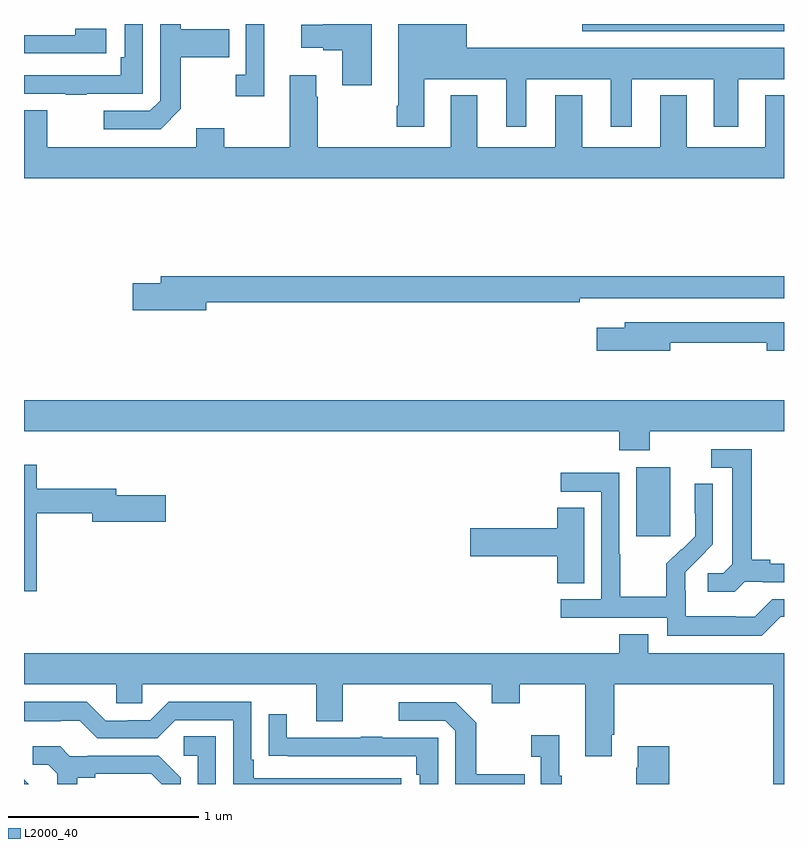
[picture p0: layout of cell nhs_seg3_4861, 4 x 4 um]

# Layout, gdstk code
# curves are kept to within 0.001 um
import gdstk
lib = gdstk.Library(unit=1e-6, precision=1e-09)
def R(c, l, rs):  # rectangles x0, y0, x1, y1
    for r in rs: c.add(gdstk.rectangle(r[:2], r[2:], *l))
def P(c, l, *ps):  # polygons
    for p in ps: c.add(gdstk.Polygon(p, *l))
L2000_40 = (2000, 40)

nhs_seg3_4861 = lib.new_cell('nhs_seg3_4861')
R(nhs_seg3_4861, L2000_40, [(376.223,693.705,376.402,694.066), (375.939,696.362,377,696.4)])
P(nhs_seg3_4861, L2000_40, [(373.825,695.953),(373.825,696.226),(374.081,696.226),(374.081,696.373),(373.825,696.373),(373.825,696.4),(373.716,696.4),(373.716,695.997),(373.662,695.943),(373.419,695.943),(373.419,695.847),(373.719,695.847)],
  [(374.83,696.4),(374.576,696.4),(374.576,696.397),(374.46,696.397),(374.46,696.275),(374.576,696.275),(374.576,696.263),(374.675,696.263),(374.675,696.078),(374.83,696.078)],
  [(375.106,696.11),(375.539,696.11),(375.539,695.859),(375.643,695.859),(375.643,696.11),(376.088,696.11),(376.088,695.859),(376.198,695.859),(376.198,696.11),(376.631,696.11),(376.631,695.859),(376.759,695.859),(376.759,696.11),(377,696.11),(377,696.274),(375.331,696.274),(375.331,696.4),(374.969,696.4),(374.969,695.971),(374.962,695.971),(374.962,695.859),(375.106,695.859)],
  [(373.331,696.033),(373.626,696.033),(373.626,696.4),(373.53,696.4),(373.53,696.226),(373.51,696.226),(373.51,696.129),(373,696.129),(373,696.033),(373.219,696.033),(373.219,696.028),(373.331,696.028)],
  [(374.264,696.4),(374.166,696.4),(374.166,696.134),(374.115,696.134),(374.115,696.021),(374.264,696.021)],
  [(373.432,696.376),(373.271,696.376),(373.271,696.342),(373,696.342),(373,696.246),(373.432,696.246)],
  [(377,696.025),(376.901,696.025),(376.901,695.752),(376.489,695.752),(376.489,696.025),(376.349,696.025),(376.349,695.752),(375.937,695.752),(375.937,696.025),(375.797,696.025),(375.797,695.752),(375.385,695.752),(375.385,696.025),(375.245,696.025),(375.245,695.752),(374.547,695.752),(374.547,696.017),(374.539,696.017),(374.539,696.13),(374.399,696.13),(374.399,695.752),(374.055,695.752),(374.055,695.851),(373.907,695.851),(373.907,695.752),(373.123,695.752),(373.123,695.947),(373,695.947),(373,695.588),(377,695.588)],
  [(373.96,694.936),(375.926,694.936),(375.926,694.956),(377,694.956),(377,695.072),(373.721,695.072),(373.721,695.036),(373.572,695.036),(373.572,694.894),(373.96,694.894)],
  [(376.402,694.722),(376.91,694.722),(376.91,694.679),(377,694.679),(377,694.83),(376.163,694.83),(376.163,694.801),(376.014,694.801),(376.014,694.679),(376.402,694.679)],
  [(376.293,694.256),(377,694.256),(377,694.42),(373,694.42),(373,694.256),(376.133,694.256),(376.133,694.157),(376.293,694.157)],
  [(376.794,693.465),(376.888,693.465),(376.888,693.462),(377,693.462),(377,693.558),(376.927,693.558),(376.927,693.581),(376.831,693.581),(376.831,694.161),(376.617,694.161),(376.617,694.065),(376.727,694.065),(376.727,693.557),(376.68,693.51),(376.599,693.51),(376.599,693.413),(376.742,693.413)],
  [(373.067,693.826),(373.358,693.826),(373.358,693.779),(373.747,693.779),(373.747,693.921),(373.486,693.921),(373.486,693.955),(373.067,693.955),(373.067,694.081),(373,694.081),(373,693.414),(373.067,693.414)],
  [(376.983,693.279),(377,693.279),(377,693.372),(376.938,693.372),(376.845,693.279),(376.745,693.279),(376.745,693.283),(376.482,693.283),(376.482,693.417),(376.48,693.417),(376.48,693.514),(376.626,693.662),(376.626,693.98),(376.53,693.98),(376.53,693.826),(376.532,693.826),(376.532,693.704),(376.461,693.633),(376.458,693.636),(376.381,693.559),(376.381,693.385),(376.137,693.385),(376.137,693.608),(376.134,693.608),(376.134,694.038),(375.825,694.038),(375.825,693.939),(376.038,693.939),(376.038,693.372),(375.825,693.372),(375.825,693.276),(376.386,693.276),(376.386,693.179),(376.883,693.179)],
  [(375.949,693.854),(375.806,693.854),(375.806,693.746),(375.348,693.746),(375.348,693.599),(375.806,693.599),(375.806,693.457),(375.949,693.457)],
  [(377,693.088),(376.285,693.088),(376.285,693.187),(376.133,693.187),(376.133,693.088),(373,693.088),(373,692.924),(373.485,692.924),(373.485,692.826),(373.623,692.826),(373.623,692.924),(374.537,692.924),(374.537,692.73),(374.677,692.73),(374.677,692.924),(375.461,692.924),(375.461,692.825),(375.609,692.825),(375.609,692.924),(375.953,692.924),(375.953,692.547),(376.093,692.547),(376.093,692.659),(376.106,692.659),(376.106,692.924),(376.943,692.924),(376.943,692.4),(377,692.4)],
  [(374.986,692.43),(374.209,692.43),(374.209,692.527),(374.196,692.527),(374.196,692.832),(373.761,692.832),(373.665,692.736),(373.547,692.736),(373.547,692.733),(373.431,692.733),(373.331,692.833),(373,692.833),(373,692.729),(373.193,692.729),(373.193,692.733),(373.293,692.733),(373.386,692.64),(373.701,692.64),(373.797,692.736),(374.1,692.736),(374.1,692.4),(374.986,692.4)],
  [(375.635,692.451),(375.379,692.451),(375.379,692.723),(375.273,692.829),(374.973,692.829),(374.973,692.733),(375.216,692.733),(375.27,692.679),(375.27,692.4),(375.635,692.4)],
  [(375.18,692.643),(374.885,692.643),(374.885,692.648),(374.773,692.648),(374.773,692.643),(374.383,692.643),(374.383,692.767),(374.287,692.767),(374.287,692.548),(374.389,692.548),(374.389,692.547),(375.064,692.547),(375.064,692.45),(375.084,692.45),(375.084,692.4),(375.18,692.4)],
  [(375.829,692.443),(375.817,692.443),(375.817,692.656),(375.669,692.656),(375.669,692.543),(375.72,692.543),(375.72,692.4),(375.829,692.4)],
  [(374.01,692.651),(373.842,692.651),(373.842,692.55),(373.914,692.55),(373.914,692.4),(374.01,692.4)],
  [(373.279,692.432),(373.375,692.432),(373.375,692.454),(373.67,692.454),(373.724,692.4),(373.824,692.4),(373.824,692.434),(373.708,692.55),(373.336,692.55),(373.336,692.547),(373.242,692.547),(373.19,692.599),(373.047,692.599),(373.047,692.502),(373.128,692.502),(373.175,692.455),(373.175,692.4),(373.279,692.4)],
  [(376.397,692.599),(376.229,692.599),(376.229,692.486),(376.222,692.486),(376.222,692.4),(376.397,692.4)],
  [(373.001,692.423),(373.002,692.424),(373,692.426),(373,692.4),(373.024,692.4)])

lib.write_gds('nhs_seg3_4861.gds')
